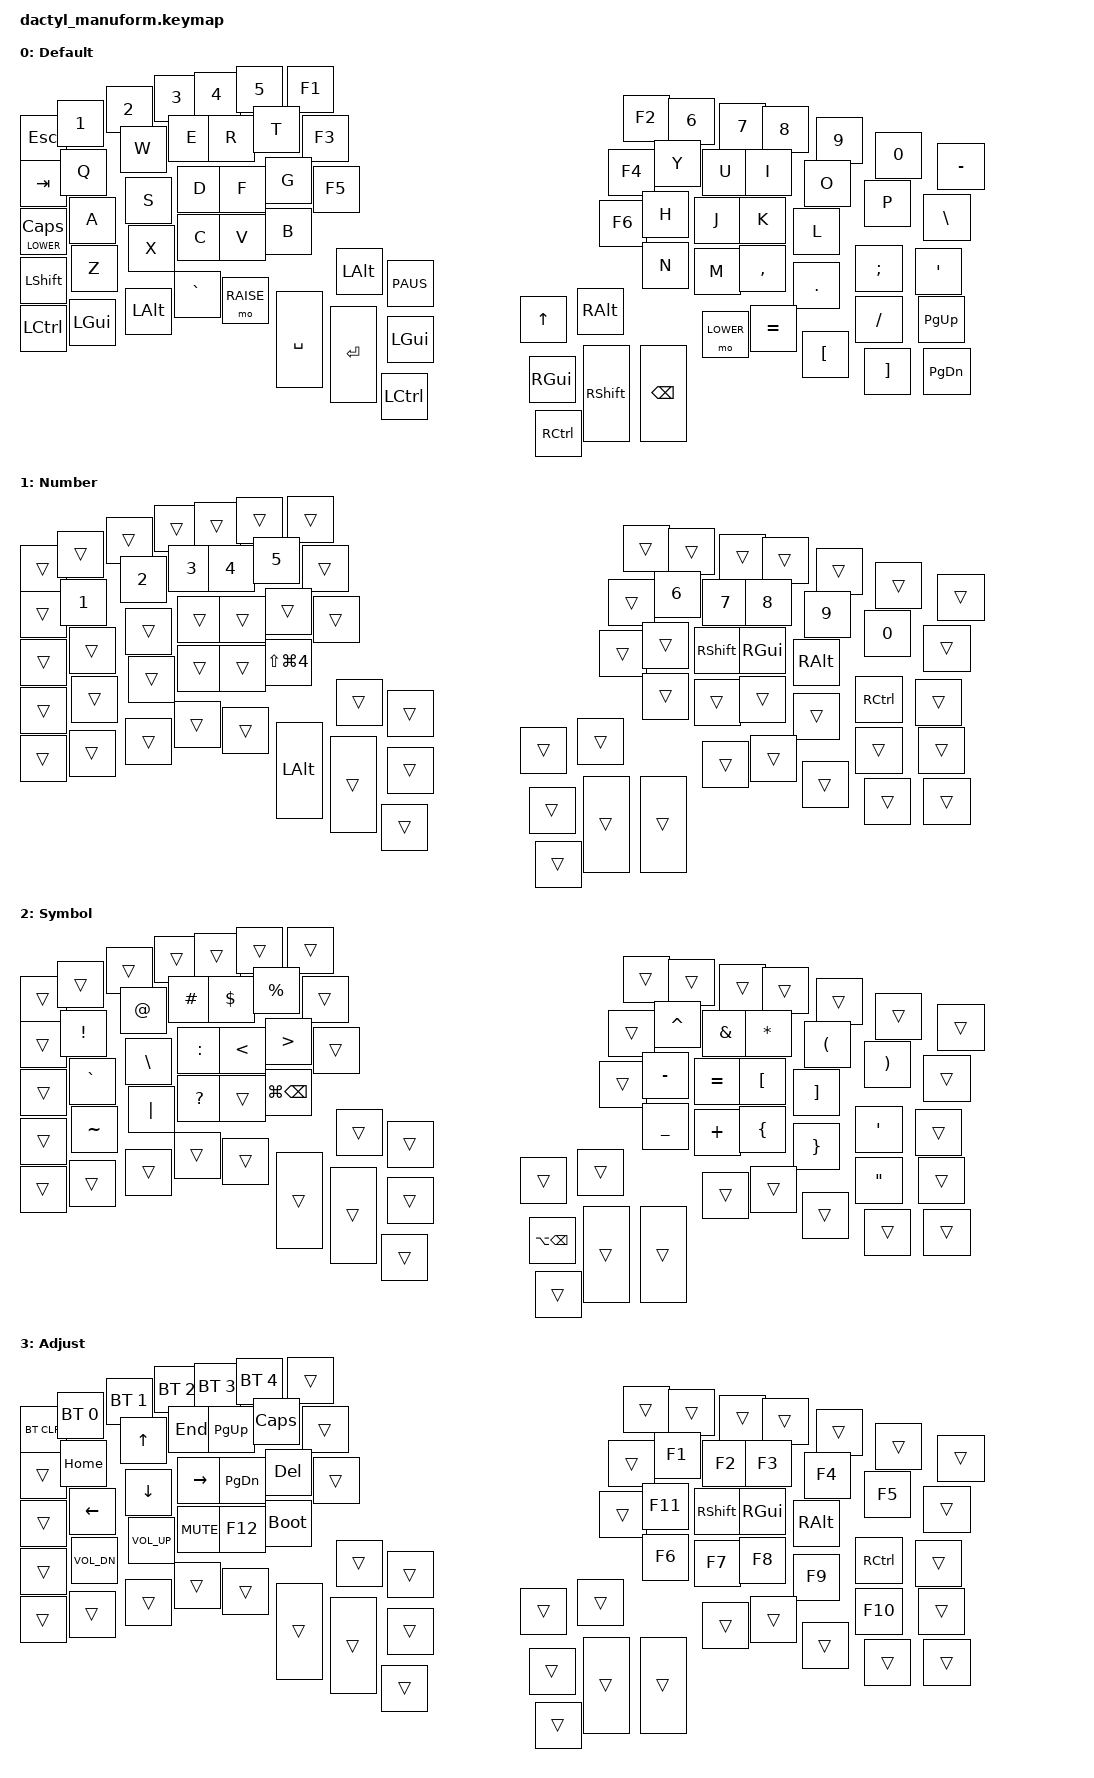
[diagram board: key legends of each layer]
#include <behaviors.dtsi>
#include <dt-bindings/zmk/keys.h>
#include <dt-bindings/zmk/bt.h>
#include <dt-bindings/zmk/outputs.h>

#define DEFAULT 0
#define LOWER   1
#define RAISE   2
#define ADJUST  3

/ {
    conditional_layers {
        compatible = "zmk,conditional-layers";

        adjust_layer {
            if-layers = <LOWER RAISE>;
            then-layer = <ADJUST>;
        };
    };

    keymap {
        compatible = "zmk,keymap";

        default_layer {
            display-name = "Default";
            bindings = <
            &kp ESC        &kp N1    &kp N2   &kp N3    &kp N4    &kp N5 &kp F1                                                  &kp F2  &kp N6    &kp N7    &kp N8    &kp N9    &kp N0   &kp MINUS
            &kp TAB        &kp Q     &kp W    &kp E     &kp R     &kp T  &kp F3                                                  &kp F4  &kp Y     &kp U     &kp I     &kp O     &kp P    &kp BSLH
            &lt LOWER CAPS &kp A     &kp S    &kp D     &kp F     &kp G  &kp F5  &kp LALT   &kp PAUS    &kp UP &kp RALT     &kp F6  &kp H     &kp J     &kp K     &kp L     &kp SEMI &kp SQT
            &kp LSHFT      &kp Z     &kp X    &kp C     &kp V     &kp B                    &kp LCTRL    &kp RCTRL                       &kp N     &kp M     &kp COMMA &kp DOT   &kp FSLH &kp PG_UP
            &kp LCTRL      &kp LGUI  &kp LALT &kp GRAVE &mo RAISE &kp SPACE      &kp ENTER  &kp LGUI    &kp RGUI    &kp RSHFT           &kp BSPC &mo LOWER &kp EQUAL &kp LBKT  &kp RBKT &kp PG_DN
            >;
        };

        lower_layer {
            display-name = "Number";
            // Same positions as the Cheapino NUM layer: digits on the top letter row, mods on J K L ;, Cmd+Shift+4 on B, Alt on Space.
            bindings = <
            &trans &trans &trans &trans &trans &trans &trans &trans &trans &trans &trans &trans &trans &trans
            &trans &kp N1 &kp N2 &kp N3 &kp N4 &kp N5 &trans &trans &kp N6 &kp N7 &kp N8 &kp N9 &kp N0 &trans
            &trans &trans &trans &trans &trans &trans &trans &trans &trans &trans &trans &trans &trans &kp RSHFT &kp RGUI &kp RALT &kp RCTRL &trans
            &trans &trans &trans &trans &trans &kp LS(LG(N4)) &trans &trans &trans &trans &trans &trans &trans &trans
            &trans &trans &trans &trans &trans &kp LALT &trans &trans &trans &trans &trans &trans &trans &trans &trans &trans
            >;
        };

        raise_layer {
            display-name = "Symbol";
            // Same finger positions as the Cheapino SYM layer (N sits directly under H).
            bindings = <
            &trans         &trans    &trans   &trans    &trans    &trans     &trans                  &trans  &trans    &trans    &trans    &trans    &trans    &trans
            &trans         &kp EXCL  &kp AT   &kp HASH  &kp DLLR  &kp PRCNT  &trans                  &trans  &kp CARET &kp AMPS  &kp ASTRK &kp LPAR  &kp RPAR  &trans
            &trans         &kp GRAVE &kp BSLH &kp COLON &kp LT    &kp GT     &trans &trans &trans &trans &trans &trans &kp MINUS &kp EQUAL &kp LBKT  &kp RBKT  &kp SQT   &trans
            &trans         &kp TILDE &kp PIPE &kp QMARK &trans    &kp LG(BSPC)            &trans   &trans               &kp UNDER &kp PLUS  &kp LBRC  &kp RBRC  &kp DQT   &trans
            &trans &trans &trans &trans &trans &trans &trans &trans &kp LA(BSPC) &trans &trans &trans &trans &trans &trans &trans
            >;
        };

        adjust_layer {
            display-name = "Adjust";
            // Same positions as the Cheapino Adjust/nav layer: WASD arrows left, F-keys right; Bluetooth on the number row.
            bindings = <
            &bt BT_CLR &bt BT_SEL 0 &bt BT_SEL 1 &bt BT_SEL 2 &bt BT_SEL 3 &bt BT_SEL 4 &trans &trans &trans &trans &trans &trans &trans &trans
            &trans &kp HOME &kp UP &kp END &kp PG_UP &kp CAPS &trans &trans &kp F1 &kp F2 &kp F3 &kp F4 &kp F5 &trans
            &trans &kp LEFT &kp DOWN &kp RIGHT &kp PG_DN &kp DEL &trans &trans &trans &trans &trans &trans &kp F11 &kp RSHFT &kp RGUI &kp RALT &kp RCTRL &trans
            &trans &kp C_VOL_DN &kp C_VOL_UP &kp C_MUTE &kp F12 &bootloader &trans &trans &kp F6 &kp F7 &kp F8 &kp F9 &kp F10 &trans
            &trans &trans &trans &trans &trans &trans &trans &trans &trans &trans &trans &trans &trans &trans &trans &trans
            >;
        };
    };
};
